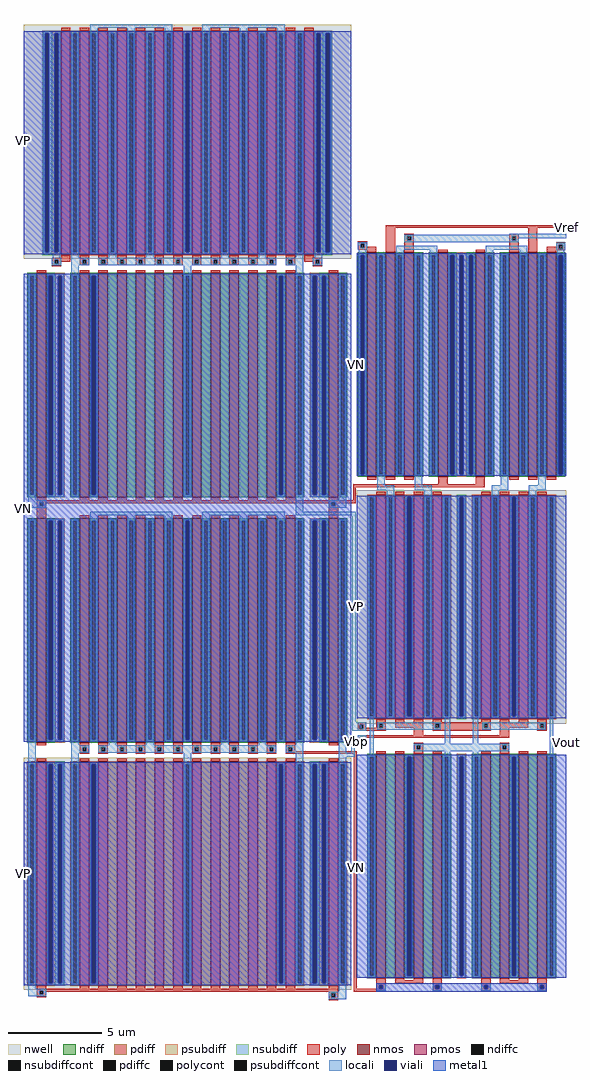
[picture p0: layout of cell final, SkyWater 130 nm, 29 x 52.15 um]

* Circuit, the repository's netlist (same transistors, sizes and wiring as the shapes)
* NGSPICE file created from final.ext - technology: sky130A

.subckt v_gen Vbn Vcp Vbp VP VN Vcn
X0 a_260_n2450# a_260_n2450# a_1360_n2330# VN sky130_fd_pr__nfet_01v8 ad=3 pd=12.5 as=3 ps=12.5 w=12 l=0.5
X1 Vcn Vbp VP VP sky130_fd_pr__pfet_01v8 ad=6 pd=25 as=3 ps=12.5 w=12 l=0.5
X2 a_260_2770# Vbn a_960_290# VN sky130_fd_pr__nfet_01v8 ad=3 pd=12.5 as=3 ps=12.5 w=12 l=0.5
X3 a_1360_n4930# Vbp a_260_n2450# VP sky130_fd_pr__pfet_01v8 ad=3 pd=12.5 as=3 ps=12.5 w=12 l=0.5
X4 a_1360_2880# a_260_2770# a_260_2770# VP sky130_fd_pr__pfet_01v8 ad=3 pd=12.5 as=3 ps=12.5 w=12 l=0.5
X5 a_160_n2330# a_260_n2450# a_260_n2450# VN sky130_fd_pr__nfet_01v8 ad=3 pd=12.5 as=3 ps=12.5 w=12 l=0.5
X6 VP VP Vcp VP sky130_fd_pr__pfet_01v8 ad=6 pd=25 as=3 ps=12.5 w=12 l=0.5
X7 a_260_2770# a_260_2770# a_160_2880# VP sky130_fd_pr__pfet_01v8 ad=3 pd=12.5 as=3 ps=12.5 w=12 l=0.5
X8 Vcn Vcn a_1360_n2330# VN sky130_fd_pr__nfet_01v8 ad=6 pd=25 as=3 ps=12.5 w=12 l=0.5
X9 a_360_n4930# Vbp VP VP sky130_fd_pr__pfet_01v8 ad=3 pd=12.5 as=3 ps=12.5 w=12 l=0.5
X10 a_260_2770# a_260_2770# a_160_2880# VP sky130_fd_pr__pfet_01v8 ad=3 pd=12.5 as=3 ps=12.5 w=12 l=0.5
X11 VP a_260_2770# a_160_2880# VP sky130_fd_pr__pfet_01v8 ad=3 pd=12.5 as=3 ps=12.5 w=12 l=0.5
X12 a_760_290# Vbn a_560_290# VN sky130_fd_pr__nfet_01v8 ad=3 pd=12.5 as=3 ps=12.5 w=12 l=0.5
X13 a_1360_n2330# a_260_n2450# VN VN sky130_fd_pr__nfet_01v8 ad=3 pd=12.5 as=3 ps=12.5 w=12 l=0.5
X14 a_260_2770# a_260_2770# a_1360_2880# VP sky130_fd_pr__pfet_01v8 ad=3 pd=12.5 as=3 ps=12.5 w=12 l=0.5
X15 Vcp Vbn VN VN sky130_fd_pr__nfet_01v8 ad=6 pd=25 as=3 ps=12.5 w=12 l=0.5
X16 VP Vbp a_1960_n4930# VP sky130_fd_pr__pfet_01v8 ad=3 pd=12.5 as=3 ps=12.5 w=12 l=0.5
X17 a_260_2770# a_260_2770# a_1360_2880# VP sky130_fd_pr__pfet_01v8 ad=3 pd=12.5 as=3 ps=12.5 w=12 l=0.5
X18 a_260_n2450# Vbp a_960_n4930# VP sky130_fd_pr__pfet_01v8 ad=3 pd=12.5 as=3 ps=12.5 w=12 l=0.5
X19 a_1760_290# Vbn a_1560_290# VN sky130_fd_pr__nfet_01v8 ad=3 pd=12.5 as=3 ps=12.5 w=12 l=0.5
X20 a_260_n2450# a_260_n2450# a_160_n2330# VN sky130_fd_pr__nfet_01v8 ad=3 pd=12.5 as=3 ps=12.5 w=12 l=0.5
X21 a_160_2880# a_n40_290# a_n40_290# VP sky130_fd_pr__pfet_01v8 ad=3 pd=12.5 as=3 ps=12.5 w=12 l=0.5
X22 VN Vbn a_n40_290# VN sky130_fd_pr__nfet_01v8 ad=3 pd=12.5 as=6 ps=25 w=12 l=0.5
X23 VN a_260_n2450# a_160_n2330# VN sky130_fd_pr__nfet_01v8 ad=3 pd=12.5 as=3 ps=12.5 w=12 l=0.5
X24 a_1360_n2330# a_260_n2450# a_260_n2450# VN sky130_fd_pr__nfet_01v8 ad=3 pd=12.5 as=3 ps=12.5 w=12 l=0.5
X25 a_360_290# Vbn VN VN sky130_fd_pr__nfet_01v8 ad=3 pd=12.5 as=3 ps=12.5 w=12 l=0.5
X26 a_1360_290# Vbn a_260_2770# VN sky130_fd_pr__nfet_01v8 ad=3 pd=12.5 as=3 ps=12.5 w=12 l=0.5
X27 a_1960_n4930# Vbp a_1760_n4930# VP sky130_fd_pr__pfet_01v8 ad=3 pd=12.5 as=3 ps=12.5 w=12 l=0.5
X28 Vbp Vbp VP VP sky130_fd_pr__pfet_01v8 ad=6 pd=25 as=6 ps=25 w=12 l=0.5
X29 a_960_290# Vbn a_760_290# VN sky130_fd_pr__nfet_01v8 ad=3 pd=12.5 as=3 ps=12.5 w=12 l=0.5
X30 Vcp Vcp a_1360_2880# VP sky130_fd_pr__pfet_01v8 ad=3 pd=12.5 as=3 ps=12.5 w=12 l=0.5
X31 a_260_n2450# a_260_n2450# a_1360_n2330# VN sky130_fd_pr__nfet_01v8 ad=3 pd=12.5 as=3 ps=12.5 w=12 l=0.5
X32 VP Vbp Vbp VP sky130_fd_pr__pfet_01v8 ad=6 pd=25 as=6 ps=25 w=12 l=0.5
X33 a_960_n4930# Vbp a_760_n4930# VP sky130_fd_pr__pfet_01v8 ad=3 pd=12.5 as=3 ps=12.5 w=12 l=0.5
X34 Vbp Vbn VN VN sky130_fd_pr__nfet_01v8 ad=6 pd=25 as=6 ps=25 w=12 l=0.5
X35 a_160_2880# a_260_2770# a_260_2770# VP sky130_fd_pr__pfet_01v8 ad=3 pd=12.5 as=3 ps=12.5 w=12 l=0.5
X36 a_1960_290# Vbn a_1760_290# VN sky130_fd_pr__nfet_01v8 ad=3 pd=12.5 as=3 ps=12.5 w=12 l=0.5
X37 a_1760_n4930# Vbp a_1560_n4930# VP sky130_fd_pr__pfet_01v8 ad=3 pd=12.5 as=3 ps=12.5 w=12 l=0.5
X38 a_160_2880# a_260_2770# a_260_2770# VP sky130_fd_pr__pfet_01v8 ad=3 pd=12.5 as=3 ps=12.5 w=12 l=0.5
X39 a_1360_2880# a_260_2770# VP VP sky130_fd_pr__pfet_01v8 ad=3 pd=12.5 as=3 ps=12.5 w=12 l=0.5
X40 a_160_n2330# a_260_n2450# a_260_n2450# VN sky130_fd_pr__nfet_01v8 ad=3 pd=12.5 as=3 ps=12.5 w=12 l=0.5
X41 VP Vbp a_n40_n4930# VP sky130_fd_pr__pfet_01v8 ad=3 pd=12.5 as=6 ps=25 w=12 l=0.5
X42 a_1360_2880# a_260_2770# a_260_2770# VP sky130_fd_pr__pfet_01v8 ad=3 pd=12.5 as=3 ps=12.5 w=12 l=0.5
X43 Vbn Vbn VN VN sky130_fd_pr__nfet_01v8 ad=6 pd=25 as=6 ps=25 w=12 l=0.5
X44 VN Vbn Vbp VN sky130_fd_pr__nfet_01v8 ad=6 pd=25 as=6 ps=25 w=12 l=0.5
X45 a_560_290# Vbn a_360_290# VN sky130_fd_pr__nfet_01v8 ad=3 pd=12.5 as=3 ps=12.5 w=12 l=0.5
X46 a_760_n4930# Vbp a_560_n4930# VP sky130_fd_pr__pfet_01v8 ad=3 pd=12.5 as=3 ps=12.5 w=12 l=0.5
X47 VN Vbn a_1960_290# VN sky130_fd_pr__nfet_01v8 ad=3 pd=12.5 as=3 ps=12.5 w=12 l=0.5
X48 a_160_n2330# a_n40_n4930# a_n40_n4930# VN sky130_fd_pr__nfet_01v8 ad=3 pd=12.5 as=6 ps=25 w=12 l=0.5
X49 a_1360_n2330# a_260_n2450# a_260_n2450# VN sky130_fd_pr__nfet_01v8 ad=3 pd=12.5 as=3 ps=12.5 w=12 l=0.5
X50 a_1560_290# Vbn a_1360_290# VN sky130_fd_pr__nfet_01v8 ad=3 pd=12.5 as=3 ps=12.5 w=12 l=0.5
X51 a_1560_n4930# Vbp a_1360_n4930# VP sky130_fd_pr__pfet_01v8 ad=3 pd=12.5 as=3 ps=12.5 w=12 l=0.5
X52 a_n40_290# VP VP VP sky130_fd_pr__pfet_01v8 ad=3 pd=12.5 as=6 ps=25 w=12 l=0.5
X53 a_260_n2450# a_260_n2450# a_160_n2330# VN sky130_fd_pr__nfet_01v8 ad=3 pd=12.5 as=3 ps=12.5 w=12 l=0.5
X54 VN Vbn Vbn VN sky130_fd_pr__nfet_01v8 ad=6 pd=25 as=6 ps=25 w=12 l=0.5
X55 a_560_n4930# Vbp a_360_n4930# VP sky130_fd_pr__pfet_01v8 ad=3 pd=12.5 as=3 ps=12.5 w=12 l=0.5
.ends

.subckt diff_amp Vbn Vin Vref Vbp Vcp Vcn Vout VP VN
X0 a_n850_5390# Vin a_n1050_5390# VN sky130_fd_pr__nfet_01v8 ad=6 pd=25 as=3 ps=12.5 w=12 l=0.5
X1 a_n30_30# Vcn a_n1050_n20# VN sky130_fd_pr__nfet_01v8 ad=3 pd=12.5 as=6 ps=25 w=12 l=0.5
X2 a_n1250_5390# VN VN VN sky130_fd_pr__nfet_01v8 ad=3 pd=12.5 as=6 ps=25 w=12 l=0.5
X3 a_n1050_n20# Vcn a_n750_30# VN sky130_fd_pr__nfet_01v8 ad=6 pd=25 as=3 ps=12.5 w=12 l=0.5
X4 VN a_n1050_n20# a_n30_30# VN sky130_fd_pr__nfet_01v8 ad=3 pd=12.5 as=3 ps=12.5 w=12 l=0.5
X5 a_370_2800# Vbp VP VP sky130_fd_pr__pfet_01v8 ad=3 pd=12.5 as=3 ps=12.5 w=12 l=0.5
X6 a_n850_5390# Vbp VP VP sky130_fd_pr__pfet_01v8 ad=3 pd=12.5 as=3 ps=12.5 w=12 l=0.5
X7 a_370_30# a_n1050_n20# VN VN sky130_fd_pr__nfet_01v8 ad=3 pd=12.5 as=3 ps=12.5 w=12 l=0.5
X8 a_n90_5390# Vin a_n30_2800# VN sky130_fd_pr__nfet_01v8 ad=3 pd=12.5 as=6 ps=25 w=12 l=0.5
X9 a_n1250_5390# Vcp a_n1350_30# VP sky130_fd_pr__pfet_01v8 ad=3 pd=12.5 as=6 ps=25 w=12 l=0.5
X10 VN VN a_370_2800# VN sky130_fd_pr__nfet_01v8 ad=6 pd=25 as=3 ps=12.5 w=12 l=0.5
X11 VP Vbp a_n30_2800# VP sky130_fd_pr__pfet_01v8 ad=3 pd=12.5 as=3 ps=12.5 w=12 l=0.5
X12 VN a_n1050_n20# a_n1150_30# VN sky130_fd_pr__nfet_01v8 ad=3 pd=12.5 as=3 ps=12.5 w=12 l=0.5
X13 a_n1050_5390# Vref a_n1250_5390# VN sky130_fd_pr__nfet_01v8 ad=3 pd=12.5 as=3 ps=12.5 w=12 l=0.5
X14 a_n750_30# a_n1050_n20# VN VN sky130_fd_pr__nfet_01v8 ad=3 pd=12.5 as=3 ps=12.5 w=12 l=0.5
X15 a_n30_2800# Vcp a_n1050_n20# VP sky130_fd_pr__pfet_01v8 ad=3 pd=12.5 as=6 ps=25 w=12 l=0.5
X16 VN Vbn a_n1050_5390# VN sky130_fd_pr__nfet_01v8 ad=6 pd=25 as=6 ps=25 w=12 l=0.5
X17 a_n90_5390# Vbn VN VN sky130_fd_pr__nfet_01v8 ad=6 pd=25 as=6 ps=25 w=12 l=0.5
X18 a_n1050_n20# Vcp a_n850_5390# VP sky130_fd_pr__pfet_01v8 ad=6 pd=25 as=3 ps=12.5 w=12 l=0.5
X19 Vout Vcp a_370_2800# VP sky130_fd_pr__pfet_01v8 ad=6 pd=25 as=3 ps=12.5 w=12 l=0.5
X20 Vout Vcn a_370_30# VN sky130_fd_pr__nfet_01v8 ad=6 pd=25 as=3 ps=12.5 w=12 l=0.5
X21 a_370_2800# Vref a_n90_5390# VN sky130_fd_pr__nfet_01v8 ad=3 pd=12.5 as=3 ps=12.5 w=12 l=0.5
X22 VP Vbp a_n1250_5390# VP sky130_fd_pr__pfet_01v8 ad=3 pd=12.5 as=3 ps=12.5 w=12 l=0.5
X23 a_n1150_30# Vcn a_n1350_30# VN sky130_fd_pr__nfet_01v8 ad=3 pd=12.5 as=6 ps=25 w=12 l=0.5
.ends


* Top level circuit final

Xv_gen_0 v_gen_0/Vbn Vcp Vbp VP VN v_gen_0/Vcn v_gen
Xdiff_amp_0 v_gen_0/Vbn Vin Vref Vbp Vcp v_gen_0/Vcn Vout VP VN diff_amp
.end

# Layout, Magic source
magic
tech sky130A
<< poly >>
rect 2590 7245 2620 7260
rect 1480 5860 1515 5875
rect 1480 5790 1495 5860
rect 1455 5775 1495 5790
rect 1445 4435 1500 4450
rect 1485 3180 1500 4435
rect 1485 3165 1525 3180
<< locali >>
rect 2590 7190 2620 7215
rect 1445 5710 1495 5730
rect 1475 4605 1495 5710
rect 1475 4560 1525 4605
rect 1470 4490 1530 4510
rect 1470 4420 1490 4490
rect 2595 4480 2620 4510
<< metal1 >>
rect -280 7105 -265 8295
rect -280 4500 -265 6995
rect 1500 5920 1515 7110
rect 2605 5920 2620 7110
rect 1500 4625 1515 5815
rect 2605 4625 2620 5815
rect -280 3205 -265 4385
rect 1500 3240 1515 4430
rect 2605 3240 2620 4430
use diff_amp  diff_amp_0
transform 1 0 2230 0 1 3220
box -730 -55 390 4040
use v_gen  v_gen_0
transform 1 0 -10 0 1 5660
box -270 -2540 1480 2675
<< labels >>
rlabel poly 2620 7250 2620 7250 3 Vref
rlabel metal1 1500 5220 1500 5220 7 VP
rlabel metal1 1500 6515 1500 6515 7 VN
rlabel locali 2620 7205 2620 7205 3 Vin
rlabel metal1 -280 3795 -280 3795 7 VP
rlabel locali 2620 4495 2620 4495 7 Vout
rlabel metal1 -280 7710 -280 7710 7 VP
rlabel locali 1500 4500 1500 4500 7 Vbp
rlabel metal1 -280 5744 -280 5744 7 VN
rlabel locali 1500 4570 1500 4570 7 Vcp
rlabel metal1 1500 3830 1500 3830 7 VN
<< end >>

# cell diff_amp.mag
magic
tech sky130A
<< nwell >>
rect -730 1375 390 2625
<< nmos >>
rect -675 2695 -625 3895
rect -575 2695 -525 3895
rect -475 2695 -425 3895
rect -295 2695 -245 3895
rect -95 2695 -45 3895
rect 85 2695 135 3895
rect 185 2695 235 3895
rect 285 2695 335 3895
rect -625 15 -575 1215
rect -525 15 -475 1215
rect -425 15 -375 1215
rect -325 15 -275 1215
rect -65 15 -15 1215
rect 35 15 85 1215
rect 135 15 185 1215
rect 235 15 285 1215
<< pmos >>
rect -625 1400 -575 2600
rect -525 1400 -475 2600
rect -425 1400 -375 2600
rect -325 1400 -275 2600
rect -65 1400 -15 2600
rect 35 1400 85 2600
rect 135 1400 185 2600
rect 235 1400 285 2600
<< ndiff >>
rect -725 3880 -675 3895
rect -725 2710 -710 3880
rect -690 2710 -675 3880
rect -725 2695 -675 2710
rect -625 3880 -575 3895
rect -625 2710 -610 3880
rect -590 2710 -575 3880
rect -625 2695 -575 2710
rect -525 3880 -475 3895
rect -525 2710 -510 3880
rect -490 2710 -475 3880
rect -525 2695 -475 2710
rect -425 3880 -375 3895
rect -425 2710 -410 3880
rect -390 2710 -375 3880
rect -425 2695 -375 2710
rect -345 3880 -295 3895
rect -345 2710 -330 3880
rect -310 2710 -295 3880
rect -345 2695 -295 2710
rect -245 3880 -195 3895
rect -145 3880 -95 3895
rect -245 2710 -230 3880
rect -210 2710 -195 3880
rect -145 2710 -130 3880
rect -110 2710 -95 3880
rect -245 2695 -195 2710
rect -145 2695 -95 2710
rect -45 3880 5 3895
rect -45 2710 -30 3880
rect -10 2710 5 3880
rect -45 2695 5 2710
rect 35 3880 85 3895
rect 35 2710 50 3880
rect 70 2710 85 3880
rect 35 2695 85 2710
rect 135 3880 185 3895
rect 135 2710 150 3880
rect 170 2710 185 3880
rect 135 2695 185 2710
rect 235 3880 285 3895
rect 235 2710 250 3880
rect 270 2710 285 3880
rect 235 2695 285 2710
rect 335 3880 385 3895
rect 335 2710 350 3880
rect 370 2710 385 3880
rect 335 2695 385 2710
rect -675 1200 -625 1215
rect -675 30 -660 1200
rect -640 30 -625 1200
rect -675 15 -625 30
rect -575 15 -525 1215
rect -475 1200 -425 1215
rect -475 30 -460 1200
rect -440 30 -425 1200
rect -475 15 -425 30
rect -375 15 -325 1215
rect -275 1200 -225 1215
rect -275 30 -260 1200
rect -240 30 -225 1200
rect -275 15 -225 30
rect -115 1200 -65 1215
rect -115 30 -100 1200
rect -80 30 -65 1200
rect -115 15 -65 30
rect -15 15 35 1215
rect 85 1200 135 1215
rect 85 30 100 1200
rect 120 30 135 1200
rect 85 15 135 30
rect 185 15 235 1215
rect 285 1200 335 1215
rect 285 30 300 1200
rect 320 30 335 1200
rect 285 15 335 30
<< pdiff >>
rect -675 2585 -625 2600
rect -675 1415 -660 2585
rect -640 1415 -625 2585
rect -675 1400 -625 1415
rect -575 2585 -525 2600
rect -575 1415 -560 2585
rect -540 1415 -525 2585
rect -575 1400 -525 1415
rect -475 2585 -425 2600
rect -475 1415 -460 2585
rect -440 1415 -425 2585
rect -475 1400 -425 1415
rect -375 2585 -325 2600
rect -375 1415 -360 2585
rect -340 1415 -325 2585
rect -375 1400 -325 1415
rect -275 2585 -225 2600
rect -275 1415 -260 2585
rect -240 1415 -225 2585
rect -275 1405 -225 1415
rect -275 1400 -230 1405
rect -115 2585 -65 2600
rect -115 1415 -100 2585
rect -80 1415 -65 2585
rect -115 1400 -65 1415
rect -15 2585 35 2600
rect -15 1415 0 2585
rect 20 1415 35 2585
rect -15 1400 35 1415
rect 85 2585 135 2600
rect 85 1415 100 2585
rect 120 1415 135 2585
rect 85 1400 135 1415
rect 185 2585 235 2600
rect 185 1415 200 2585
rect 220 1415 235 2585
rect 185 1400 235 1415
rect 285 2585 335 2600
rect 285 1415 300 2585
rect 320 1415 335 2585
rect 285 1400 335 1415
<< ndiffc >>
rect -710 2710 -690 3880
rect -610 2710 -590 3880
rect -510 2710 -490 3880
rect -410 2710 -390 3880
rect -330 2710 -310 3880
rect -230 2710 -210 3880
rect -130 2710 -110 3880
rect -30 2710 -10 3880
rect 50 2710 70 3880
rect 150 2710 170 3880
rect 250 2710 270 3880
rect 350 2710 370 3880
rect -660 30 -640 1200
rect -460 30 -440 1200
rect -260 30 -240 1200
rect -100 30 -80 1200
rect 100 30 120 1200
rect 300 30 320 1200
<< pdiffc >>
rect -660 1415 -640 2585
rect -560 1415 -540 2585
rect -460 1415 -440 2585
rect -360 1415 -340 2585
rect -260 1415 -240 2585
rect -100 1415 -80 2585
rect 0 1415 20 2585
rect 100 1415 120 2585
rect 200 1415 220 2585
rect 300 1415 320 2585
<< psubdiff >>
rect -195 3880 -145 3895
rect -195 2710 -180 3880
rect -160 2710 -145 3880
rect -195 2695 -145 2710
rect -195 1200 -145 1215
rect -195 30 -180 1200
rect -160 30 -145 1200
rect -195 15 -145 30
<< nsubdiff >>
rect -195 2585 -145 2600
rect -195 1415 -180 2585
rect -160 1415 -145 2585
rect -195 1400 -145 1415
<< psubdiffcont >>
rect -180 2710 -160 3880
rect -180 30 -160 1200
<< nsubdiffcont >>
rect -180 1415 -160 2585
<< poly >>
rect -575 4025 390 4040
rect -725 3940 -675 3955
rect -725 3920 -710 3940
rect -690 3925 -675 3940
rect -690 3920 -625 3925
rect -725 3910 -625 3920
rect -675 3895 -625 3910
rect -575 3895 -525 4025
rect -475 3980 -425 3995
rect -475 3960 -460 3980
rect -440 3960 -425 3980
rect -475 3895 -425 3960
rect 85 3980 135 3995
rect 85 3960 100 3980
rect 120 3960 135 3980
rect -295 3895 -245 3910
rect -95 3895 -45 3910
rect 85 3895 135 3960
rect 185 3895 235 4025
rect 335 3935 385 3950
rect 335 3925 350 3935
rect 285 3915 350 3925
rect 370 3915 385 3935
rect 285 3905 385 3915
rect 285 3895 335 3905
rect -675 2680 -625 2695
rect -575 2680 -525 2695
rect -475 2680 -425 2695
rect -295 2655 -245 2695
rect -95 2655 -45 2695
rect 85 2680 135 2695
rect 185 2680 235 2695
rect 285 2680 335 2695
rect -730 2640 -45 2655
rect -625 2600 -575 2615
rect -525 2600 -475 2615
rect -425 2600 -375 2615
rect -325 2600 -275 2615
rect -65 2600 -15 2615
rect 35 2600 85 2615
rect 135 2600 185 2615
rect 235 2600 285 2615
rect -725 1370 -680 1385
rect -725 1350 -715 1370
rect -695 1355 -680 1370
rect -625 1375 -575 1400
rect -625 1355 -610 1375
rect -590 1355 -575 1375
rect -525 1385 -475 1400
rect -425 1385 -375 1400
rect -525 1355 -375 1385
rect -695 1350 -575 1355
rect -725 1340 -575 1350
rect -425 1315 -375 1355
rect -325 1385 -275 1400
rect -65 1385 -15 1400
rect -325 1375 -15 1385
rect -325 1355 -310 1375
rect -290 1355 -50 1375
rect -30 1355 -15 1375
rect -325 1340 -15 1355
rect 35 1385 85 1400
rect 135 1385 185 1400
rect 35 1355 185 1385
rect 235 1375 285 1400
rect 235 1355 250 1375
rect 270 1355 285 1375
rect 35 1315 85 1355
rect 235 1340 285 1355
rect -725 1305 85 1315
rect -725 1285 -715 1305
rect -695 1300 85 1305
rect -695 1285 -680 1300
rect -725 1270 -680 1285
rect -425 1260 -375 1275
rect -425 1240 -410 1260
rect -390 1240 -375 1260
rect -625 1215 -575 1230
rect -525 1215 -475 1230
rect -425 1215 -375 1240
rect 35 1260 85 1275
rect 35 1240 50 1260
rect 70 1240 85 1260
rect -325 1215 -275 1230
rect -65 1215 -15 1230
rect 35 1215 85 1240
rect 135 1215 185 1230
rect 235 1215 285 1230
rect -625 -20 -575 15
rect -525 5 -475 15
rect -425 5 -375 15
rect -525 -10 -375 5
rect -625 -40 -610 -20
rect -590 -40 -575 -20
rect -730 -55 -575 -40
rect -325 -20 -275 15
rect -325 -40 -310 -20
rect -290 -40 -275 -20
rect -325 -55 -275 -40
rect -65 -20 -15 15
rect 35 5 85 15
rect 135 5 185 15
rect 35 -10 185 5
rect -65 -40 -50 -20
rect -30 -40 -15 -20
rect -65 -55 -15 -40
rect 235 -20 285 15
rect 235 -40 250 -20
rect 270 -40 285 -20
rect 235 -55 285 -40
<< polycont >>
rect -710 3920 -690 3940
rect -460 3960 -440 3980
rect 100 3960 120 3980
rect 350 3915 370 3935
rect -715 1350 -695 1370
rect -610 1355 -590 1375
rect -310 1355 -290 1375
rect -50 1355 -30 1375
rect 250 1355 270 1375
rect -715 1285 -695 1305
rect -410 1240 -390 1260
rect 50 1240 70 1260
rect -610 -40 -590 -20
rect -310 -40 -290 -20
rect -50 -40 -30 -20
rect 250 -40 270 -20
<< locali >>
rect 85 3990 390 3995
rect -475 3980 390 3990
rect -475 3960 -460 3980
rect -440 3960 100 3980
rect 120 3970 390 3980
rect 120 3960 135 3970
rect -475 3950 135 3960
rect -725 3940 -675 3950
rect -725 3920 -710 3940
rect -690 3920 -675 3940
rect 335 3935 385 3945
rect -725 3910 -675 3920
rect -520 3910 -300 3930
rect -720 3880 -680 3910
rect -720 2710 -710 3880
rect -690 2710 -680 3880
rect -720 2700 -680 2710
rect -620 3880 -580 3890
rect -620 2710 -610 3880
rect -590 2710 -580 3880
rect -620 2650 -580 2710
rect -520 3880 -480 3910
rect -520 2710 -510 3880
rect -490 2710 -480 3880
rect -520 2700 -480 2710
rect -420 3880 -380 3890
rect -420 2710 -410 3880
rect -390 2710 -380 3880
rect -420 2650 -380 2710
rect -340 3880 -300 3910
rect -40 3910 180 3930
rect -340 2710 -330 3880
rect -310 2710 -300 3880
rect -340 2700 -300 2710
rect -240 3880 -100 3890
rect -240 2710 -230 3880
rect -210 2710 -180 3880
rect -160 2710 -130 3880
rect -110 2710 -100 3880
rect -240 2700 -100 2710
rect -40 3880 0 3910
rect -40 2710 -30 3880
rect -10 2710 0 3880
rect -40 2700 0 2710
rect 40 3880 80 3890
rect 40 2710 50 3880
rect 70 2710 80 3880
rect 40 2650 80 2710
rect 140 3880 180 3910
rect 335 3915 350 3935
rect 370 3915 385 3935
rect 335 3905 385 3915
rect 140 2710 150 3880
rect 170 2710 180 3880
rect 140 2700 180 2710
rect 240 3880 280 3890
rect 240 2710 250 3880
rect 270 2710 280 3880
rect 240 2650 280 2710
rect 340 3880 380 3905
rect 340 2710 350 3880
rect 370 2710 380 3880
rect 340 2700 380 2710
rect -620 2625 -530 2650
rect -420 2625 -330 2650
rect -670 2585 -630 2595
rect -670 1415 -660 2585
rect -640 1415 -630 2585
rect -670 1405 -630 1415
rect -570 2585 -530 2625
rect -570 1415 -560 2585
rect -540 1415 -530 2585
rect -570 1405 -530 1415
rect -470 2585 -430 2595
rect -470 1415 -460 2585
rect -440 1415 -430 2585
rect -470 1405 -430 1415
rect -370 2585 -330 2625
rect -10 2625 80 2650
rect 190 2625 280 2650
rect -370 1415 -360 2585
rect -340 1415 -330 2585
rect -370 1405 -330 1415
rect -270 2585 -230 2595
rect -270 1415 -260 2585
rect -240 1415 -230 2585
rect -270 1405 -230 1415
rect -190 2585 -150 2595
rect -190 1415 -180 2585
rect -160 1415 -150 2585
rect -190 1405 -150 1415
rect -110 2585 -70 2595
rect -110 1415 -100 2585
rect -80 1415 -70 2585
rect -110 1405 -70 1415
rect -10 2585 30 2625
rect -10 1415 0 2585
rect 20 1415 30 2585
rect -10 1405 30 1415
rect 90 2585 130 2595
rect 90 1415 100 2585
rect 120 1415 130 2585
rect 90 1405 130 1415
rect 190 2585 230 2625
rect 190 1415 200 2585
rect 220 1415 230 2585
rect 190 1405 230 1415
rect 290 2585 330 2595
rect 290 1415 300 2585
rect 320 1415 330 2585
rect 290 1405 330 1415
rect -725 1370 -680 1385
rect -725 1360 -715 1370
rect -730 1350 -715 1360
rect -695 1350 -680 1370
rect -730 1340 -680 1350
rect -725 1305 -680 1315
rect -725 1290 -715 1305
rect -730 1285 -715 1290
rect -695 1285 -680 1305
rect -730 1270 -680 1285
rect -660 1210 -640 1405
rect -620 1375 -280 1385
rect -620 1355 -610 1375
rect -590 1355 -310 1375
rect -290 1355 -280 1375
rect -620 1345 -280 1355
rect -260 1270 -230 1405
rect -110 1270 -80 1405
rect -60 1375 280 1385
rect -60 1355 -50 1375
rect -30 1355 250 1375
rect 270 1355 280 1375
rect -60 1345 280 1355
rect 300 1290 320 1405
rect -425 1260 85 1270
rect -425 1240 -410 1260
rect -390 1240 50 1260
rect 70 1240 85 1260
rect -425 1230 85 1240
rect 300 1260 390 1290
rect -260 1210 -230 1230
rect -110 1210 -80 1230
rect 300 1210 320 1260
rect -670 1200 -630 1210
rect -670 30 -660 1200
rect -640 30 -630 1200
rect -670 20 -630 30
rect -470 1200 -430 1210
rect -470 30 -460 1200
rect -440 30 -430 1200
rect -470 20 -430 30
rect -270 1200 -230 1210
rect -270 30 -260 1200
rect -240 30 -230 1200
rect -270 20 -230 30
rect -190 1200 -150 1210
rect -190 30 -180 1200
rect -160 30 -150 1200
rect -190 20 -150 30
rect -110 1200 -70 1210
rect -110 30 -100 1200
rect -80 30 -70 1200
rect -110 20 -70 30
rect 90 1200 130 1210
rect 90 30 100 1200
rect 120 30 130 1200
rect 90 20 130 30
rect 290 1200 330 1210
rect 290 30 300 1200
rect 320 30 330 1200
rect 290 20 330 30
rect -625 -20 -575 -10
rect -625 -40 -610 -20
rect -590 -40 -575 -20
rect -625 -50 -575 -40
rect -325 -20 -275 -10
rect -325 -40 -310 -20
rect -290 -40 -275 -20
rect -325 -50 -275 -40
rect -65 -20 -15 -10
rect -65 -40 -50 -20
rect -30 -40 -15 -20
rect -65 -50 -15 -40
rect 235 -20 285 -10
rect 235 -40 250 -20
rect 270 -40 285 -20
rect 235 -50 285 -40
<< viali >>
rect -710 2710 -690 3880
rect -230 2710 -210 3880
rect -180 2710 -160 3880
rect -130 2710 -110 3880
rect 350 2710 370 3880
rect -460 1415 -440 2585
rect -180 1415 -160 2585
rect 100 1415 120 2585
rect -460 30 -440 1200
rect -180 30 -160 1200
rect 100 30 120 1200
rect -610 -40 -590 -20
rect -310 -40 -290 -20
rect -50 -40 -30 -20
rect 250 -40 270 -20
<< metal1 >>
rect -730 3880 390 3890
rect -730 2710 -710 3880
rect -690 2710 -230 3880
rect -210 2710 -180 3880
rect -160 2710 -130 3880
rect -110 2710 350 3880
rect 370 2710 390 3880
rect -730 2700 390 2710
rect -730 2585 390 2595
rect -730 1415 -460 2585
rect -440 1415 -180 2585
rect -160 1415 100 2585
rect 120 1415 390 2585
rect -730 1405 390 1415
rect -730 1200 390 1210
rect -730 30 -460 1200
rect -440 30 -180 1200
rect -160 30 100 1200
rect 120 30 390 1200
rect -730 20 390 30
rect -625 -20 285 -10
rect -625 -40 -610 -20
rect -590 -40 -310 -20
rect -290 -40 -50 -20
rect -30 -40 250 -20
rect 270 -40 285 -20
rect -625 -55 285 -40
<< labels >>
rlabel metal1 -730 2000 -730 2000 7 VP
port 9 w
rlabel poly -730 -45 -730 -45 7 Vcn
port 6 w
rlabel metal1 -730 610 -730 610 7 VN
port 10 w
rlabel poly -730 2645 -730 2645 7 Vbn
port 1 w
rlabel metal1 -730 3295 -730 3295 7 VN
port 8 w
rlabel poly 390 4030 390 4030 3 Vref
port 3 w
rlabel locali -730 1350 -730 1350 7 Vcp
port 5 w
rlabel locali 390 1275 390 1275 3 Vout
port 7 e
rlabel locali 390 3985 390 3985 3 Vin
port 2 e
rlabel locali -730 1280 -730 1280 7 Vbp
port 4 w
<< end >>

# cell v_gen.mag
magic
tech sky130A
<< nwell >>
rect -270 1420 1480 2670
rect -270 -2485 1480 -1245
<< nmos >>
rect -200 145 -150 1345
rect 30 145 80 1345
rect 130 145 180 1345
rect 230 145 280 1345
rect 330 145 380 1345
rect 430 145 480 1345
rect 530 145 580 1345
rect 630 145 680 1345
rect 730 145 780 1345
rect 830 145 880 1345
rect 930 145 980 1345
rect 1030 145 1080 1345
rect 1130 145 1180 1345
rect 1360 145 1410 1345
rect -200 -1165 -150 35
rect 30 -1165 80 35
rect 130 -1165 180 35
rect 230 -1165 280 35
rect 330 -1165 380 35
rect 430 -1165 480 35
rect 530 -1165 580 35
rect 630 -1165 680 35
rect 730 -1165 780 35
rect 830 -1165 880 35
rect 930 -1165 980 35
rect 1030 -1165 1080 35
rect 1130 -1165 1180 35
rect 1360 -1165 1410 35
<< pmos >>
rect -70 1440 -20 2640
rect 30 1440 80 2640
rect 130 1440 180 2640
rect 230 1440 280 2640
rect 330 1440 380 2640
rect 430 1440 480 2640
rect 530 1440 580 2640
rect 630 1440 680 2640
rect 730 1440 780 2640
rect 830 1440 880 2640
rect 930 1440 980 2640
rect 1030 1440 1080 2640
rect 1130 1440 1180 2640
rect 1230 1440 1280 2640
rect -200 -2465 -150 -1265
rect 30 -2465 80 -1265
rect 130 -2465 180 -1265
rect 230 -2465 280 -1265
rect 330 -2465 380 -1265
rect 430 -2465 480 -1265
rect 530 -2465 580 -1265
rect 630 -2465 680 -1265
rect 730 -2465 780 -1265
rect 830 -2465 880 -1265
rect 930 -2465 980 -1265
rect 1030 -2465 1080 -1265
rect 1130 -2465 1180 -1265
rect 1360 -2465 1410 -1265
<< ndiff >>
rect -250 1330 -200 1345
rect -250 160 -235 1330
rect -215 160 -200 1330
rect -250 145 -200 160
rect -150 1330 -100 1345
rect -150 160 -135 1330
rect -115 160 -100 1330
rect -150 145 -100 160
rect -20 1330 30 1345
rect -20 160 -5 1330
rect 15 160 30 1330
rect -20 145 30 160
rect 80 1330 130 1345
rect 80 160 95 1330
rect 115 160 130 1330
rect 80 145 130 160
rect 180 145 230 1345
rect 280 145 330 1345
rect 380 145 430 1345
rect 480 145 530 1345
rect 580 1330 630 1345
rect 580 160 595 1330
rect 615 160 630 1330
rect 580 145 630 160
rect 680 145 730 1345
rect 780 145 830 1345
rect 880 145 930 1345
rect 980 145 1030 1345
rect 1080 1330 1130 1345
rect 1080 160 1095 1330
rect 1115 160 1130 1330
rect 1080 145 1130 160
rect 1180 1330 1230 1345
rect 1180 160 1195 1330
rect 1215 160 1230 1330
rect 1180 145 1230 160
rect 1310 1330 1360 1345
rect 1310 160 1325 1330
rect 1345 160 1360 1330
rect 1310 145 1360 160
rect 1410 1330 1460 1345
rect 1410 160 1425 1330
rect 1445 160 1460 1330
rect 1410 145 1460 160
rect -250 20 -200 35
rect -250 -1150 -235 20
rect -215 -1150 -200 20
rect -250 -1165 -200 -1150
rect -150 20 -100 35
rect -150 -1150 -135 20
rect -115 -1150 -100 20
rect -150 -1165 -100 -1150
rect -20 20 30 35
rect -20 -1150 -5 20
rect 15 -1150 30 20
rect -20 -1165 30 -1150
rect 80 20 130 35
rect 80 -1150 95 20
rect 115 -1150 130 20
rect 80 -1165 130 -1150
rect 180 20 230 35
rect 180 -1150 195 20
rect 215 -1150 230 20
rect 180 -1165 230 -1150
rect 280 20 330 35
rect 280 -1150 295 20
rect 315 -1150 330 20
rect 280 -1165 330 -1150
rect 380 20 430 35
rect 380 -1150 395 20
rect 415 -1150 430 20
rect 380 -1165 430 -1150
rect 480 20 530 35
rect 480 -1150 495 20
rect 515 -1150 530 20
rect 480 -1165 530 -1150
rect 580 20 630 35
rect 580 -1150 595 20
rect 615 -1150 630 20
rect 580 -1165 630 -1150
rect 680 20 730 35
rect 680 -1150 695 20
rect 715 -1150 730 20
rect 680 -1165 730 -1150
rect 780 20 830 35
rect 780 -1150 795 20
rect 815 -1150 830 20
rect 780 -1165 830 -1150
rect 880 20 930 35
rect 880 -1150 895 20
rect 915 -1150 930 20
rect 880 -1165 930 -1150
rect 980 20 1030 35
rect 980 -1150 995 20
rect 1015 -1150 1030 20
rect 980 -1165 1030 -1150
rect 1080 20 1130 35
rect 1080 -1150 1095 20
rect 1115 -1150 1130 20
rect 1080 -1165 1130 -1150
rect 1180 20 1230 35
rect 1180 -1150 1195 20
rect 1215 -1150 1230 20
rect 1180 -1165 1230 -1150
rect 1310 20 1360 35
rect 1310 -1150 1325 20
rect 1345 -1150 1360 20
rect 1310 -1165 1360 -1150
rect 1410 20 1460 35
rect 1410 -1150 1425 20
rect 1445 -1150 1460 20
rect 1410 -1165 1460 -1150
<< pdiff >>
rect -120 2625 -70 2640
rect -120 1455 -105 2625
rect -85 1455 -70 2625
rect -120 1440 -70 1455
rect -20 2625 30 2640
rect -20 1455 -5 2625
rect 15 1455 30 2625
rect -20 1440 30 1455
rect 80 2625 130 2640
rect 80 1455 95 2625
rect 115 1455 130 2625
rect 80 1440 130 1455
rect 180 2625 230 2640
rect 180 1455 195 2625
rect 215 1455 230 2625
rect 180 1440 230 1455
rect 280 2625 330 2640
rect 280 1455 295 2625
rect 315 1455 330 2625
rect 280 1440 330 1455
rect 380 2625 430 2640
rect 380 1455 395 2625
rect 415 1455 430 2625
rect 380 1440 430 1455
rect 480 2625 530 2640
rect 480 1455 495 2625
rect 515 1455 530 2625
rect 480 1440 530 1455
rect 580 2625 630 2640
rect 580 1455 595 2625
rect 615 1455 630 2625
rect 580 1440 630 1455
rect 680 2625 730 2640
rect 680 1455 695 2625
rect 715 1455 730 2625
rect 680 1440 730 1455
rect 780 2625 830 2640
rect 780 1455 795 2625
rect 815 1455 830 2625
rect 780 1440 830 1455
rect 880 2625 930 2640
rect 880 1455 895 2625
rect 915 1455 930 2625
rect 880 1440 930 1455
rect 980 2625 1030 2640
rect 980 1455 995 2625
rect 1015 1455 1030 2625
rect 980 1440 1030 1455
rect 1080 2625 1130 2640
rect 1080 1455 1095 2625
rect 1115 1455 1130 2625
rect 1080 1440 1130 1455
rect 1180 2625 1230 2640
rect 1180 1455 1195 2625
rect 1215 1455 1230 2625
rect 1180 1440 1230 1455
rect 1280 2625 1330 2640
rect 1280 1455 1295 2625
rect 1315 1455 1330 2625
rect 1280 1440 1330 1455
rect -250 -1280 -200 -1265
rect -250 -2450 -235 -1280
rect -215 -2450 -200 -1280
rect -250 -2465 -200 -2450
rect -150 -1280 -100 -1265
rect -150 -2450 -135 -1280
rect -115 -2450 -100 -1280
rect -150 -2465 -100 -2450
rect -20 -1280 30 -1265
rect -20 -2450 -5 -1280
rect 15 -2450 30 -1280
rect -20 -2465 30 -2450
rect 80 -1280 130 -1265
rect 80 -2450 95 -1280
rect 115 -2450 130 -1280
rect 80 -2465 130 -2450
rect 180 -2465 230 -1265
rect 280 -2465 330 -1265
rect 380 -2465 430 -1265
rect 480 -2465 530 -1265
rect 580 -1280 630 -1265
rect 580 -2450 595 -1280
rect 615 -2450 630 -1280
rect 580 -2465 630 -2450
rect 680 -2465 730 -1265
rect 780 -2465 830 -1265
rect 880 -2465 930 -1265
rect 980 -2465 1030 -1265
rect 1080 -1280 1130 -1265
rect 1080 -2450 1095 -1280
rect 1115 -2450 1130 -1280
rect 1080 -2465 1130 -2450
rect 1180 -1280 1230 -1265
rect 1180 -2450 1195 -1280
rect 1215 -2450 1230 -1280
rect 1180 -2465 1230 -2450
rect 1310 -1280 1360 -1265
rect 1310 -2450 1325 -1280
rect 1345 -2450 1360 -1280
rect 1310 -2465 1360 -2450
rect 1410 -1280 1460 -1265
rect 1410 -2450 1425 -1280
rect 1445 -2450 1460 -1280
rect 1410 -2465 1460 -2450
<< ndiffc >>
rect -235 160 -215 1330
rect -135 160 -115 1330
rect -5 160 15 1330
rect 95 160 115 1330
rect 595 160 615 1330
rect 1095 160 1115 1330
rect 1195 160 1215 1330
rect 1325 160 1345 1330
rect 1425 160 1445 1330
rect -235 -1150 -215 20
rect -135 -1150 -115 20
rect -5 -1150 15 20
rect 95 -1150 115 20
rect 195 -1150 215 20
rect 295 -1150 315 20
rect 395 -1150 415 20
rect 495 -1150 515 20
rect 595 -1150 615 20
rect 695 -1150 715 20
rect 795 -1150 815 20
rect 895 -1150 915 20
rect 995 -1150 1015 20
rect 1095 -1150 1115 20
rect 1195 -1150 1215 20
rect 1325 -1150 1345 20
rect 1425 -1150 1445 20
<< pdiffc >>
rect -105 1455 -85 2625
rect -5 1455 15 2625
rect 95 1455 115 2625
rect 195 1455 215 2625
rect 295 1455 315 2625
rect 395 1455 415 2625
rect 495 1455 515 2625
rect 595 1455 615 2625
rect 695 1455 715 2625
rect 795 1455 815 2625
rect 895 1455 915 2625
rect 995 1455 1015 2625
rect 1095 1455 1115 2625
rect 1195 1455 1215 2625
rect 1295 1455 1315 2625
rect -235 -2450 -215 -1280
rect -135 -2450 -115 -1280
rect -5 -2450 15 -1280
rect 95 -2450 115 -1280
rect 595 -2450 615 -1280
rect 1095 -2450 1115 -1280
rect 1195 -2450 1215 -1280
rect 1325 -2450 1345 -1280
rect 1425 -2450 1445 -1280
<< psubdiff >>
rect -100 1330 -50 1345
rect -100 160 -85 1330
rect -65 160 -50 1330
rect -100 145 -50 160
rect 1260 1330 1310 1345
rect 1260 160 1275 1330
rect 1295 160 1310 1330
rect 1260 145 1310 160
rect -100 20 -50 35
rect -100 -1150 -85 20
rect -65 -1150 -50 20
rect -100 -1165 -50 -1150
rect 1260 20 1310 35
rect 1260 -1150 1275 20
rect 1295 -1150 1310 20
rect 1260 -1165 1310 -1150
<< nsubdiff >>
rect -170 2625 -120 2640
rect -170 1455 -155 2625
rect -135 1455 -120 2625
rect -170 1440 -120 1455
rect 1330 2625 1380 2640
rect 1330 1455 1345 2625
rect 1365 1455 1380 2625
rect 1330 1440 1380 1455
rect -100 -1280 -50 -1265
rect -100 -2450 -85 -1280
rect -65 -2450 -50 -1280
rect -100 -2465 -50 -2450
rect 1260 -1280 1310 -1265
rect 1260 -2450 1275 -1280
rect 1295 -2450 1310 -1280
rect 1260 -2465 1310 -2450
<< psubdiffcont >>
rect -85 160 -65 1330
rect 1275 160 1295 1330
rect -85 -1150 -65 20
rect 1275 -1150 1295 20
<< nsubdiffcont >>
rect -155 1455 -135 2625
rect 1345 1455 1365 2625
rect -85 -2450 -65 -1280
rect 1275 -2450 1295 -1280
<< poly >>
rect -70 2640 -20 2655
rect 30 2640 80 2655
rect 130 2640 180 2655
rect 230 2640 280 2655
rect 330 2640 380 2655
rect 430 2640 480 2655
rect 530 2640 580 2655
rect 630 2640 680 2655
rect 730 2640 780 2655
rect 830 2640 880 2655
rect 930 2640 980 2655
rect 1030 2640 1080 2655
rect 1130 2640 1180 2655
rect 1230 2640 1280 2655
rect -70 1425 -20 1440
rect -120 1415 -20 1425
rect -120 1395 -105 1415
rect -85 1405 -20 1415
rect 30 1415 80 1440
rect -85 1395 -70 1405
rect -120 1380 -70 1395
rect 30 1395 45 1415
rect 65 1395 80 1415
rect 30 1385 80 1395
rect 130 1415 180 1440
rect 130 1395 145 1415
rect 165 1395 180 1415
rect 130 1385 180 1395
rect 230 1415 280 1440
rect 230 1395 245 1415
rect 265 1395 280 1415
rect 230 1385 280 1395
rect 330 1415 380 1440
rect 330 1395 345 1415
rect 365 1395 380 1415
rect 330 1385 380 1395
rect 430 1415 480 1440
rect 430 1395 445 1415
rect 465 1395 480 1415
rect 430 1385 480 1395
rect 530 1415 580 1440
rect 530 1395 545 1415
rect 565 1395 580 1415
rect 530 1385 580 1395
rect 630 1415 680 1440
rect 630 1395 645 1415
rect 665 1395 680 1415
rect 630 1385 680 1395
rect 730 1415 780 1440
rect 730 1395 745 1415
rect 765 1395 780 1415
rect 730 1385 780 1395
rect 830 1415 880 1440
rect 830 1395 845 1415
rect 865 1395 880 1415
rect 830 1385 880 1395
rect 930 1415 980 1440
rect 930 1395 945 1415
rect 965 1395 980 1415
rect 930 1385 980 1395
rect 1030 1415 1080 1440
rect 1030 1395 1045 1415
rect 1065 1395 1080 1415
rect 1030 1385 1080 1395
rect 1130 1415 1180 1440
rect 1130 1395 1145 1415
rect 1165 1395 1180 1415
rect 1230 1425 1280 1440
rect 1230 1415 1325 1425
rect 1230 1405 1290 1415
rect 1130 1385 1180 1395
rect 1275 1395 1290 1405
rect 1310 1395 1325 1415
rect 1275 1380 1325 1395
rect -200 1345 -150 1360
rect 30 1345 80 1360
rect 130 1345 180 1360
rect 230 1345 280 1360
rect 330 1345 380 1360
rect 430 1345 480 1360
rect 530 1345 580 1360
rect 630 1345 680 1360
rect 730 1345 780 1360
rect 830 1345 880 1360
rect 930 1345 980 1360
rect 1030 1345 1080 1360
rect 1130 1345 1180 1360
rect 1360 1345 1410 1360
rect -200 130 -150 145
rect 30 130 80 145
rect 130 130 180 145
rect 230 130 280 145
rect 330 130 380 145
rect 430 130 480 145
rect 530 130 580 145
rect 630 130 680 145
rect 730 130 780 145
rect 830 130 880 145
rect 930 130 980 145
rect 1030 130 1080 145
rect 1130 130 1180 145
rect 1360 130 1410 145
rect -200 120 1480 130
rect -200 100 -185 120
rect -165 115 1375 120
rect -165 100 -150 115
rect -200 35 -150 100
rect 1360 100 1375 115
rect 1395 115 1480 120
rect 1395 100 1410 115
rect 30 35 80 50
rect 130 35 180 50
rect 230 35 280 50
rect 330 35 380 50
rect 430 35 480 50
rect 530 35 580 50
rect 630 35 680 50
rect 730 35 780 50
rect 830 35 880 50
rect 930 35 980 50
rect 1030 35 1080 50
rect 1130 35 1180 50
rect 1360 35 1410 100
rect -200 -1180 -150 -1165
rect 30 -1190 80 -1165
rect 30 -1210 45 -1190
rect 65 -1210 80 -1190
rect 30 -1225 80 -1210
rect 130 -1190 180 -1165
rect 130 -1210 145 -1190
rect 165 -1210 180 -1190
rect 130 -1225 180 -1210
rect 230 -1190 280 -1165
rect 230 -1210 245 -1190
rect 265 -1210 280 -1190
rect 230 -1225 280 -1210
rect 330 -1190 380 -1165
rect 330 -1210 345 -1190
rect 365 -1210 380 -1190
rect 330 -1225 380 -1210
rect 430 -1190 480 -1165
rect 430 -1210 445 -1190
rect 465 -1210 480 -1190
rect 430 -1225 480 -1210
rect 530 -1190 580 -1165
rect 530 -1210 545 -1190
rect 565 -1210 580 -1190
rect 530 -1225 580 -1210
rect 630 -1190 680 -1165
rect 630 -1210 645 -1190
rect 665 -1210 680 -1190
rect 630 -1225 680 -1210
rect 730 -1190 780 -1165
rect 730 -1210 745 -1190
rect 765 -1210 780 -1190
rect 730 -1225 780 -1210
rect 830 -1190 880 -1165
rect 830 -1210 845 -1190
rect 865 -1210 880 -1190
rect 830 -1225 880 -1210
rect 930 -1190 980 -1165
rect 930 -1210 945 -1190
rect 965 -1210 980 -1190
rect 930 -1225 980 -1210
rect 1030 -1190 1080 -1165
rect 1030 -1210 1045 -1190
rect 1065 -1210 1080 -1190
rect 1030 -1225 1080 -1210
rect 1130 -1190 1180 -1165
rect 1360 -1180 1410 -1165
rect 1130 -1210 1145 -1190
rect 1165 -1210 1180 -1190
rect 1130 -1225 1480 -1210
rect -200 -1265 -150 -1250
rect 30 -1265 80 -1250
rect 130 -1265 180 -1250
rect 230 -1265 280 -1250
rect 330 -1265 380 -1250
rect 430 -1265 480 -1250
rect 530 -1265 580 -1250
rect 630 -1265 680 -1250
rect 730 -1265 780 -1250
rect 830 -1265 880 -1250
rect 930 -1265 980 -1250
rect 1030 -1265 1080 -1250
rect 1130 -1265 1180 -1250
rect 1360 -1265 1410 -1250
rect -200 -2480 -150 -2465
rect 30 -2480 80 -2465
rect 130 -2480 180 -2465
rect 230 -2480 280 -2465
rect 330 -2480 380 -2465
rect 430 -2480 480 -2465
rect 530 -2480 580 -2465
rect 630 -2480 680 -2465
rect 730 -2480 780 -2465
rect 830 -2480 880 -2465
rect 930 -2480 980 -2465
rect 1030 -2480 1080 -2465
rect 1130 -2480 1180 -2465
rect 1360 -2480 1410 -2465
rect -200 -2490 1410 -2480
rect -200 -2510 -185 -2490
rect -165 -2495 1410 -2490
rect -165 -2510 -150 -2495
rect -200 -2525 -150 -2510
rect 1360 -2505 1410 -2495
rect 1360 -2525 1375 -2505
rect 1395 -2525 1410 -2505
rect 1360 -2540 1410 -2525
<< polycont >>
rect -105 1395 -85 1415
rect 45 1395 65 1415
rect 145 1395 165 1415
rect 245 1395 265 1415
rect 345 1395 365 1415
rect 445 1395 465 1415
rect 545 1395 565 1415
rect 645 1395 665 1415
rect 745 1395 765 1415
rect 845 1395 865 1415
rect 945 1395 965 1415
rect 1045 1395 1065 1415
rect 1145 1395 1165 1415
rect 1290 1395 1310 1415
rect -185 100 -165 120
rect 1375 100 1395 120
rect 45 -1210 65 -1190
rect 145 -1210 165 -1190
rect 245 -1210 265 -1190
rect 345 -1210 365 -1190
rect 445 -1210 465 -1190
rect 545 -1210 565 -1190
rect 645 -1210 665 -1190
rect 745 -1210 765 -1190
rect 845 -1210 865 -1190
rect 945 -1210 965 -1190
rect 1045 -1210 1065 -1190
rect 1145 -1210 1165 -1190
rect -185 -2510 -165 -2490
rect 1375 -2525 1395 -2505
<< locali >>
rect 85 2655 525 2675
rect -165 2625 -75 2635
rect -165 1455 -155 2625
rect -135 1455 -105 2625
rect -85 1455 -75 2625
rect -165 1445 -75 1455
rect -115 1425 -75 1445
rect -15 2625 25 2635
rect -15 1455 -5 2625
rect 15 1455 25 2625
rect -15 1425 25 1455
rect 85 2625 125 2655
rect 85 1455 95 2625
rect 115 1455 125 2625
rect 85 1445 125 1455
rect 185 2625 225 2635
rect 185 1455 195 2625
rect 215 1455 225 2625
rect 185 1425 225 1455
rect 285 2625 325 2655
rect 285 1455 295 2625
rect 315 1455 325 2625
rect 285 1445 325 1455
rect 385 2625 425 2635
rect 385 1455 395 2625
rect 415 1455 425 2625
rect 385 1425 425 1455
rect 485 2625 525 2655
rect 685 2655 1125 2675
rect 485 1455 495 2625
rect 515 1455 525 2625
rect 485 1445 525 1455
rect 585 2625 625 2635
rect 585 1455 595 2625
rect 615 1455 625 2625
rect 585 1445 625 1455
rect 685 2625 725 2655
rect 685 1455 695 2625
rect 715 1455 725 2625
rect 685 1445 725 1455
rect 785 2625 825 2635
rect 785 1455 795 2625
rect 815 1455 825 2625
rect 785 1425 825 1455
rect 885 2625 925 2655
rect 885 1455 895 2625
rect 915 1455 925 2625
rect 885 1445 925 1455
rect 985 2625 1025 2635
rect 985 1455 995 2625
rect 1015 1455 1025 2625
rect 985 1425 1025 1455
rect 1085 2625 1125 2655
rect 1085 1455 1095 2625
rect 1115 1455 1125 2625
rect 1085 1445 1125 1455
rect 1185 2625 1225 2635
rect 1185 1455 1195 2625
rect 1215 1455 1225 2625
rect 1185 1425 1225 1455
rect 1285 2625 1375 2635
rect 1285 1455 1295 2625
rect 1315 1455 1345 2625
rect 1365 1455 1375 2625
rect 1285 1445 1375 1455
rect 1285 1425 1325 1445
rect -120 1415 -70 1425
rect -120 1395 -105 1415
rect -85 1395 -70 1415
rect -120 1385 -70 1395
rect -15 1415 80 1425
rect -15 1395 45 1415
rect 65 1395 80 1415
rect -15 1385 80 1395
rect 130 1415 1080 1425
rect 130 1395 145 1415
rect 165 1395 245 1415
rect 265 1395 345 1415
rect 365 1395 445 1415
rect 465 1395 545 1415
rect 565 1395 645 1415
rect 665 1395 745 1415
rect 765 1395 845 1415
rect 865 1395 945 1415
rect 965 1395 1045 1415
rect 1065 1395 1080 1415
rect 130 1385 1080 1395
rect 1130 1415 1225 1425
rect 1130 1395 1145 1415
rect 1165 1395 1225 1415
rect 1130 1385 1225 1395
rect 1275 1415 1325 1425
rect 1275 1395 1290 1415
rect 1310 1395 1325 1415
rect 1275 1385 1325 1395
rect -245 1330 -205 1340
rect -245 160 -235 1330
rect -215 160 -205 1330
rect -245 130 -205 160
rect -145 1330 -55 1340
rect -145 160 -135 1330
rect -115 160 -85 1330
rect -65 160 -55 1330
rect -145 150 -55 160
rect -15 1330 25 1385
rect -15 160 -5 1330
rect 15 160 25 1330
rect -15 150 25 160
rect 85 1330 125 1340
rect 85 160 95 1330
rect 115 160 125 1330
rect 85 150 125 160
rect 585 1330 625 1385
rect 585 160 595 1330
rect 615 160 625 1330
rect 585 150 625 160
rect 1085 1330 1125 1340
rect 1085 160 1095 1330
rect 1115 160 1125 1330
rect 1085 150 1125 160
rect 1185 1330 1225 1385
rect 1185 160 1195 1330
rect 1215 160 1225 1330
rect -245 120 -150 130
rect -245 100 -185 120
rect -165 100 -150 120
rect -245 90 -150 100
rect 1185 70 1225 160
rect 1265 1330 1355 1340
rect 1265 160 1275 1330
rect 1295 160 1325 1330
rect 1345 160 1355 1330
rect 1265 150 1355 160
rect 1415 1330 1455 1340
rect 1415 160 1425 1330
rect 1445 160 1455 1330
rect 1415 130 1455 160
rect 1360 120 1455 130
rect 1360 100 1375 120
rect 1395 100 1455 120
rect 1360 90 1455 100
rect 85 50 525 70
rect -245 20 -205 30
rect -245 -1150 -235 20
rect -215 -1150 -205 20
rect -245 -1280 -205 -1150
rect -145 20 -55 30
rect -145 -1150 -135 20
rect -115 -1150 -85 20
rect -65 -1150 -55 20
rect -145 -1160 -55 -1150
rect -15 20 25 30
rect -15 -1150 -5 20
rect 15 -1150 25 20
rect -15 -1180 25 -1150
rect 85 20 125 50
rect 85 -1150 95 20
rect 115 -1150 125 20
rect 85 -1160 125 -1150
rect 185 20 225 30
rect 185 -1150 195 20
rect 215 -1150 225 20
rect 185 -1180 225 -1150
rect 285 20 325 50
rect 285 -1150 295 20
rect 315 -1150 325 20
rect 285 -1160 325 -1150
rect 385 20 425 30
rect 385 -1150 395 20
rect 415 -1150 425 20
rect 385 -1180 425 -1150
rect 485 20 525 50
rect 685 50 1125 70
rect 1185 50 1480 70
rect 485 -1150 495 20
rect 515 -1150 525 20
rect 485 -1160 525 -1150
rect 585 20 625 30
rect 585 -1150 595 20
rect 615 -1150 625 20
rect 585 -1160 625 -1150
rect 685 20 725 50
rect 685 -1150 695 20
rect 715 -1150 725 20
rect 685 -1160 725 -1150
rect 785 20 825 30
rect 785 -1150 795 20
rect 815 -1150 825 20
rect 785 -1180 825 -1150
rect 885 20 925 50
rect 885 -1150 895 20
rect 915 -1150 925 20
rect 885 -1160 925 -1150
rect 985 20 1025 30
rect 985 -1150 995 20
rect 1015 -1150 1025 20
rect 985 -1180 1025 -1150
rect 1085 20 1125 50
rect 1085 -1150 1095 20
rect 1115 -1150 1125 20
rect 1085 -1160 1125 -1150
rect 1185 20 1225 30
rect 1185 -1150 1195 20
rect 1215 -1150 1225 20
rect 1185 -1180 1225 -1150
rect 1265 20 1355 30
rect 1265 -1150 1275 20
rect 1295 -1150 1325 20
rect 1345 -1150 1355 20
rect 1265 -1160 1355 -1150
rect 1415 20 1455 30
rect 1415 -1150 1425 20
rect 1445 -1150 1455 20
rect -15 -1190 80 -1180
rect -15 -1210 45 -1190
rect 65 -1210 80 -1190
rect -15 -1220 80 -1210
rect 130 -1190 1080 -1180
rect 130 -1210 145 -1190
rect 165 -1210 245 -1190
rect 265 -1210 345 -1190
rect 365 -1210 445 -1190
rect 465 -1210 545 -1190
rect 565 -1210 645 -1190
rect 665 -1210 745 -1190
rect 765 -1210 845 -1190
rect 865 -1210 945 -1190
rect 965 -1210 1045 -1190
rect 1065 -1210 1080 -1190
rect 130 -1220 1080 -1210
rect 1130 -1190 1225 -1180
rect 1130 -1210 1145 -1190
rect 1165 -1210 1225 -1190
rect 1130 -1220 1225 -1210
rect -245 -2450 -235 -1280
rect -215 -2450 -205 -1280
rect -245 -2480 -205 -2450
rect -145 -1280 -55 -1270
rect -145 -2450 -135 -1280
rect -115 -2450 -85 -1280
rect -65 -2450 -55 -1280
rect -145 -2460 -55 -2450
rect -15 -1280 25 -1220
rect -15 -2450 -5 -1280
rect 15 -2450 25 -1280
rect -15 -2460 25 -2450
rect 85 -1280 125 -1270
rect 85 -2450 95 -1280
rect 115 -2450 125 -1280
rect 85 -2460 125 -2450
rect 585 -1280 625 -1220
rect 585 -2450 595 -1280
rect 615 -2450 625 -1280
rect 585 -2460 625 -2450
rect 1085 -1280 1125 -1270
rect 1085 -2450 1095 -1280
rect 1115 -2450 1125 -1280
rect 1085 -2460 1125 -2450
rect 1185 -1280 1225 -1220
rect 1415 -1220 1455 -1150
rect 1415 -1240 1480 -1220
rect 1185 -2450 1195 -1280
rect 1215 -2450 1225 -1280
rect 1185 -2460 1225 -2450
rect 1265 -1280 1355 -1270
rect 1265 -2450 1275 -1280
rect 1295 -2450 1325 -1280
rect 1345 -2450 1355 -1280
rect 1265 -2460 1355 -2450
rect 1415 -1280 1455 -1240
rect 1415 -2450 1425 -1280
rect 1445 -2450 1455 -1280
rect -245 -2490 -150 -2480
rect -245 -2510 -185 -2490
rect -165 -2510 -150 -2490
rect 1415 -2495 1455 -2450
rect -245 -2520 -150 -2510
rect 1360 -2505 1455 -2495
rect 1360 -2525 1375 -2505
rect 1395 -2525 1455 -2505
rect 1360 -2535 1455 -2525
<< viali >>
rect -155 1455 -135 2625
rect -105 1455 -85 2625
rect 595 1455 615 2625
rect 1295 1455 1315 2625
rect 1345 1455 1365 2625
rect -135 160 -115 1330
rect -85 160 -65 1330
rect 95 160 115 1330
rect 1095 160 1115 1330
rect 1275 160 1295 1330
rect 1325 160 1345 1330
rect -135 -1150 -115 20
rect -85 -1150 -65 20
rect 595 -1150 615 20
rect 1275 -1150 1295 20
rect 1325 -1150 1345 20
rect -135 -2450 -115 -1280
rect -85 -2450 -65 -1280
rect 95 -2450 115 -1280
rect 1095 -2450 1115 -1280
rect 1275 -2450 1295 -1280
rect 1325 -2450 1345 -1280
<< metal1 >>
rect -270 2625 1480 2635
rect -270 1455 -155 2625
rect -135 1455 -105 2625
rect -85 1455 595 2625
rect 615 1455 1295 2625
rect 1315 1455 1345 2625
rect 1365 1455 1480 2625
rect -270 1445 1480 1455
rect -270 1330 1480 1340
rect -270 160 -135 1330
rect -115 160 -85 1330
rect -65 160 95 1330
rect 115 160 1095 1330
rect 1115 160 1275 1330
rect 1295 160 1325 1330
rect 1345 160 1480 1330
rect -270 20 1480 160
rect -270 -1150 -135 20
rect -115 -1150 -85 20
rect -65 -1150 595 20
rect 615 -1150 1275 20
rect 1295 -1150 1325 20
rect 1345 -1150 1480 20
rect -270 -1160 1480 -1150
rect -270 -1280 1480 -1270
rect -270 -2450 -135 -1280
rect -115 -2450 -85 -1280
rect -65 -2450 95 -1280
rect 115 -2450 1095 -1280
rect 1115 -2450 1275 -1280
rect 1295 -2450 1325 -1280
rect 1345 -2450 1480 -1280
rect -270 -2460 1480 -2450
<< labels >>
rlabel metal1 -270 2050 -270 2050 7 VP
port 6 w
rlabel locali 1480 60 1480 60 3 Vcp
port 3 e
rlabel poly 1480 125 1480 125 3 Vbn
port 2 e
rlabel metal1 -270 -1865 -270 -1865 7 VP
port 9 w
rlabel locali 1480 -1230 1480 -1230 3 Vbp
port 5 e
rlabel poly 1480 -1215 1480 -1215 3 Vcn
port 10 e
rlabel metal1 -270 85 -270 85 7 VN
port 7 w
<< end >>
